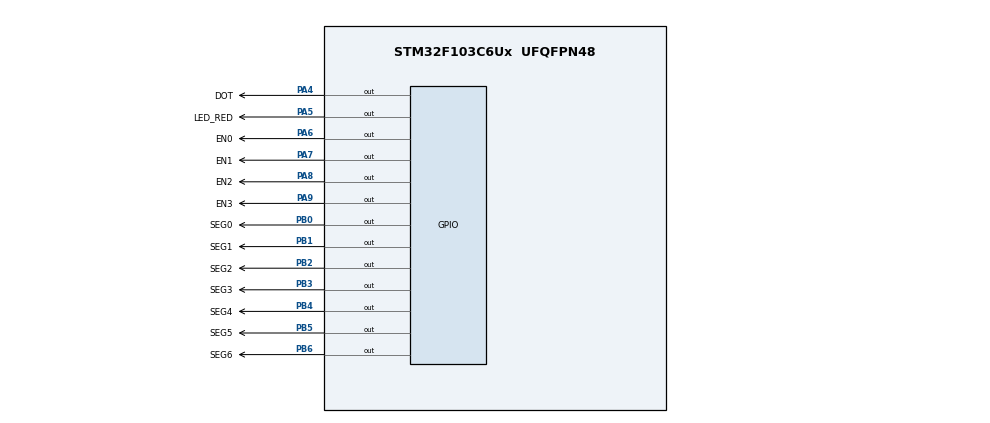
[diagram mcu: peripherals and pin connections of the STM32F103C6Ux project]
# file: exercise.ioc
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Mcu.Family=STM32F1
Mcu.Name=STM32F103C6Ux
Mcu.Package=UFQFPN48
NVIC.PriorityGroup=NVIC_PRIORITYGROUP_4
NVIC.TIM2_IRQn=true\:0\:0\:false\:false\:true\:true\:true
PA4.GPIO_Label=DOT
PA4.Signal=GPIO_Output
PA5.GPIO_Label=LED_RED
PA5.Signal=GPIO_Output
PA6.GPIO_Label=EN0
PA6.Signal=GPIO_Output
PA7.GPIO_Label=EN1
PA7.Signal=GPIO_Output
PA8.GPIO_Label=EN2
PA8.Signal=GPIO_Output
PA9.GPIO_Label=EN3
PA9.Signal=GPIO_Output
PB0.GPIO_Label=SEG0
PB0.Signal=GPIO_Output
PB1.GPIO_Label=SEG1
PB1.Signal=GPIO_Output
PB2.GPIO_Label=SEG2
PB2.Signal=GPIO_Output
PB3.GPIO_Label=SEG3
PB3.Signal=GPIO_Output
PB4.GPIO_Label=SEG4
PB4.Signal=GPIO_Output
PB5.GPIO_Label=SEG5
PB5.Signal=GPIO_Output
PB6.GPIO_Label=SEG6
PB6.Signal=GPIO_Output
ProjectManager.HeapSize=0x200
ProjectManager.StackSize=0x400
ProjectManager.TargetToolchain=STM32CubeIDE
RCC.APB1Freq_Value=8000000
RCC.APB2Freq_Value=8000000
TIM2.Period=9
TIM2.Prescaler=7999
VP_SYS_VS_ND.Mode=No_Debug
VP_TIM2_VS_ClockSourceINT.Mode=Internal
board=custom

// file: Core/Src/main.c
/* USER CODE BEGIN Header */
/**
  ******************************************************************************
  * @file           : main.c
  * @brief          : Main program body
  ******************************************************************************
  * @attention
  *
  * <h2><center>&copy; Copyright (c) 2023 STMicroelectronics.
  * All rights reserved.</center></h2>
  *
  * This software component is licensed by ST under BSD 3-Clause license,
  * the "License"; You may not use this file except in compliance with the
  * License. You may obtain a copy of the License at:
  *                        opensource.org/licenses/BSD-3-Clause
  *
  ******************************************************************************
  */
/* USER CODE END Header */
#include "main.h"
#include "software_timer.h"

TIM_HandleTypeDef htim2;

void SystemClock_Config(void);
static void MX_GPIO_Init(void);
static void MX_TIM2_Init(void);

/* USER CODE BEGIN 0 */
  int counter_switch = 25;
  int timerFA_counter = 100;
  int timerCouple_counter = 100;
  int FA_led_flag =0;
  int couple_led_flag =0;
  const int MAX_LED = 4;
  int index_led = 0;
  int led_buffer [4] = {1, 2, 3, 4};
  void update7SEG ( int index ){
	  switch ( index ){
	  	  case 0:
	  		  // Display the first 7 SEG with led_buffer [0]
				HAL_GPIO_WritePin(EN0_GPIO_Port, EN0_Pin, RESET);
				HAL_GPIO_WritePin(EN1_GPIO_Port, EN1_Pin, SET);
				HAL_GPIO_WritePin(EN2_GPIO_Port, EN2_Pin, SET);
				HAL_GPIO_WritePin(EN3_GPIO_Port, EN3_Pin, SET);

				HAL_GPIO_WritePin(SEG0_GPIO_Port, SEG0_Pin, SET);
				HAL_GPIO_WritePin(SEG1_GPIO_Port, SEG1_Pin, RESET);
				HAL_GPIO_WritePin(SEG2_GPIO_Port, SEG2_Pin, RESET);
				HAL_GPIO_WritePin(SEG3_GPIO_Port, SEG3_Pin, SET);
				HAL_GPIO_WritePin(SEG4_GPIO_Port, SEG4_Pin, SET);
				HAL_GPIO_WritePin(SEG5_GPIO_Port, SEG5_Pin, SET);
				HAL_GPIO_WritePin(SEG6_GPIO_Port, SEG6_Pin, SET);
	  		  break ;
	  	  case 1:
	  		  // Display the second 7 SEG with led_buffer [1]
				HAL_GPIO_WritePin(EN0_GPIO_Port, EN0_Pin, SET);
				HAL_GPIO_WritePin(EN1_GPIO_Port, EN1_Pin, RESET);
				HAL_GPIO_WritePin(EN2_GPIO_Port, EN2_Pin, SET);
				HAL_GPIO_WritePin(EN3_GPIO_Port, EN3_Pin, SET);

				HAL_GPIO_WritePin(SEG0_GPIO_Port, SEG0_Pin, RESET);
				HAL_GPIO_WritePin(SEG1_GPIO_Port, SEG1_Pin, RESET);
				HAL_GPIO_WritePin(SEG2_GPIO_Port, SEG2_Pin, SET);
				HAL_GPIO_WritePin(SEG3_GPIO_Port, SEG3_Pin, RESET);
				HAL_GPIO_WritePin(SEG4_GPIO_Port, SEG4_Pin, RESET);
				HAL_GPIO_WritePin(SEG5_GPIO_Port, SEG5_Pin, SET);
				HAL_GPIO_WritePin(SEG6_GPIO_Port, SEG6_Pin, RESET);
	  		  break ;
	  	  case 2:
	  		  // Display the third 7 SEG with led_buffer [2]
				HAL_GPIO_WritePin(EN0_GPIO_Port, EN0_Pin, SET);
				HAL_GPIO_WritePin(EN1_GPIO_Port, EN1_Pin, SET);
				HAL_GPIO_WritePin(EN2_GPIO_Port, EN2_Pin, RESET);
				HAL_GPIO_WritePin(EN3_GPIO_Port, EN3_Pin, SET);

				HAL_GPIO_WritePin(SEG0_GPIO_Port, SEG0_Pin, RESET);
				HAL_GPIO_WritePin(SEG1_GPIO_Port, SEG1_Pin, RESET);
				HAL_GPIO_WritePin(SEG2_GPIO_Port, SEG2_Pin, RESET);
				HAL_GPIO_WritePin(SEG3_GPIO_Port, SEG3_Pin, RESET);
				HAL_GPIO_WritePin(SEG4_GPIO_Port, SEG4_Pin, SET);
				HAL_GPIO_WritePin(SEG5_GPIO_Port, SEG5_Pin, SET);
				HAL_GPIO_WritePin(SEG6_GPIO_Port, SEG6_Pin, RESET);
	  		  break ;
	  	  case 3:
	  		  // Display the forth 7 SEG with led_buffer [3]
				HAL_GPIO_WritePin(EN0_GPIO_Port, EN0_Pin, SET);
				HAL_GPIO_WritePin(EN1_GPIO_Port, EN1_Pin, SET);
				HAL_GPIO_WritePin(EN2_GPIO_Port, EN2_Pin, SET);
				HAL_GPIO_WritePin(EN3_GPIO_Port, EN3_Pin, RESET);

				HAL_GPIO_WritePin(SEG0_GPIO_Port, SEG0_Pin, RESET);
				HAL_GPIO_WritePin(SEG1_GPIO_Port, SEG1_Pin, RESET);
				HAL_GPIO_WritePin(SEG2_GPIO_Port, SEG2_Pin, RESET);
				HAL_GPIO_WritePin(SEG3_GPIO_Port, SEG3_Pin, RESET);
				HAL_GPIO_WritePin(SEG4_GPIO_Port, SEG4_Pin, RESET);
				HAL_GPIO_WritePin(SEG5_GPIO_Port, SEG5_Pin, RESET);
				HAL_GPIO_WritePin(SEG6_GPIO_Port, SEG6_Pin, SET);
	  		  break ;
	  	  default :
	  		  break ;
	  }
  }

  void updateClockBuffer(){
	  if(hour != led_buffer[0]*10 + led_buffer[1]){
		  led_buffer[0] = hour/10;
		  led_buffer[1] = hour%10;
	  }

	  if(minute != led_buffer[2]*10 + led_buffer[3]){
		  led_buffer[2] = minute/10;
		  led_buffer[3] = minute%10;
	  }
  }
/* USER CODE END 0 */

int main(void)
{

  /* MCU Configuration--------------------------------------------------------*/

  /* Reset of all peripherals, Initializes the Flash interface and the Systick. */
  HAL_Init();

  /* Configure the system clock */
  SystemClock_Config();

  /* Initialize all configured peripherals */
  MX_GPIO_Init();
  MX_TIM2_Init();
  /* USER CODE BEGIN 2 */
  HAL_TIM_Base_Start_IT(&htim2);
  /* USER CODE END 2 */

  /* Infinite loop */
  /* USER CODE BEGIN WHILE */
  int hour = 15, minute = 8, second =50;
  while (1)
  {
    /* USER CODE END WHILE */
	  second++;
	  if ( second >= 60) {
	  second = 0;
	  minute ++;
	  }
	  if( minute >= 60) {
	  minute = 0;
	  hour ++;
	  }
	  if( hour >=24){
	  hour = 0;
	  }
	  updateClockBuffer ();
	  HAL_Delay (1000) ;
  }
}

void SystemClock_Config(void)
{
  RCC_OscInitTypeDef RCC_OscInitStruct = {0};
  RCC_ClkInitTypeDef RCC_ClkInitStruct = {0};

  /** Initializes the RCC Oscillators according to the specified parameters
  * in the RCC_OscInitTypeDef structure.
  */
  RCC_OscInitStruct.OscillatorType = RCC_OSCILLATORTYPE_HSI;
  RCC_OscInitStruct.HSIState = RCC_HSI_ON;
  RCC_OscInitStruct.HSICalibrationValue = RCC_HSICALIBRATION_DEFAULT;
  RCC_OscInitStruct.PLL.PLLState = RCC_PLL_NONE;
  if (HAL_RCC_OscConfig(&RCC_OscInitStruct) != HAL_OK)
  {
    Error_Handler();
  }
  /** Initializes the CPU, AHB and APB buses clocks
  */
  RCC_ClkInitStruct.ClockType = RCC_CLOCKTYPE_HCLK|RCC_CLOCKTYPE_SYSCLK
                              |RCC_CLOCKTYPE_PCLK1|RCC_CLOCKTYPE_PCLK2;
  RCC_ClkInitStruct.SYSCLKSource = RCC_SYSCLKSOURCE_HSI;
  RCC_ClkInitStruct.AHBCLKDivider = RCC_SYSCLK_DIV1;
  RCC_ClkInitStruct.APB1CLKDivider = RCC_HCLK_DIV1;
  RCC_ClkInitStruct.APB2CLKDivider = RCC_HCLK_DIV1;

  if (HAL_RCC_ClockConfig(&RCC_ClkInitStruct, FLASH_LATENCY_0) != HAL_OK)
  {
    Error_Handler();
  }
}

static void MX_TIM2_Init(void)
{

  TIM_ClockConfigTypeDef sClockSourceConfig = {0};
  TIM_MasterConfigTypeDef sMasterConfig = {0};

  htim2.Instance = TIM2;
  htim2.Init.Prescaler = 7999;
  htim2.Init.CounterMode = TIM_COUNTERMODE_UP;
  htim2.Init.Period = 9;
  htim2.Init.ClockDivision = TIM_CLOCKDIVISION_DIV1;
  htim2.Init.AutoReloadPreload = TIM_AUTORELOAD_PRELOAD_DISABLE;
  if (HAL_TIM_Base_Init(&htim2) != HAL_OK)
  {
    Error_Handler();
  }
  sClockSourceConfig.ClockSource = TIM_CLOCKSOURCE_INTERNAL;
  if (HAL_TIM_ConfigClockSource(&htim2, &sClockSourceConfig) != HAL_OK)
  {
    Error_Handler();
  }
  sMasterConfig.MasterOutputTrigger = TIM_TRGO_RESET;
  sMasterConfig.MasterSlaveMode = TIM_MASTERSLAVEMODE_DISABLE;
  if (HAL_TIMEx_MasterConfigSynchronization(&htim2, &sMasterConfig) != HAL_OK)
  {
    Error_Handler();
  }

}

static void MX_GPIO_Init(void)
{
  GPIO_InitTypeDef GPIO_InitStruct = {0};

  /* GPIO Ports Clock Enable */
  __HAL_RCC_GPIOA_CLK_ENABLE();
  __HAL_RCC_GPIOB_CLK_ENABLE();

  /*Configure GPIO pin Output Level */
  HAL_GPIO_WritePin(GPIOA, DOT_Pin|LED_RED_Pin|EN0_Pin|EN1_Pin
                          |EN2_Pin|EN3_Pin, GPIO_PIN_RESET);

  /*Configure GPIO pin Output Level */
  HAL_GPIO_WritePin(GPIOB, SEG0_Pin|SEG1_Pin|SEG2_Pin|SEG3_Pin
                          |SEG4_Pin|SEG5_Pin|SEG6_Pin, GPIO_PIN_RESET);

  /*Configure GPIO pins : DOT_Pin LED_RED_Pin EN0_Pin EN1_Pin
                           EN2_Pin EN3_Pin */
  GPIO_InitStruct.Pin = DOT_Pin|LED_RED_Pin|EN0_Pin|EN1_Pin
                          |EN2_Pin|EN3_Pin;
  GPIO_InitStruct.Mode = GPIO_MODE_OUTPUT_PP;
  GPIO_InitStruct.Pull = GPIO_NOPULL;
  GPIO_InitStruct.Speed = GPIO_SPEED_FREQ_LOW;
  HAL_GPIO_Init(GPIOA, &GPIO_InitStruct);

  /*Configure GPIO pins : SEG0_Pin SEG1_Pin SEG2_Pin SEG3_Pin
                           SEG4_Pin SEG5_Pin SEG6_Pin */
  GPIO_InitStruct.Pin = SEG0_Pin|SEG1_Pin|SEG2_Pin|SEG3_Pin
                          |SEG4_Pin|SEG5_Pin|SEG6_Pin;
  GPIO_InitStruct.Mode = GPIO_MODE_OUTPUT_PP;
  GPIO_InitStruct.Pull = GPIO_NOPULL;
  GPIO_InitStruct.Speed = GPIO_SPEED_FREQ_LOW;
  HAL_GPIO_Init(GPIOB, &GPIO_InitStruct);

}

/* USER CODE BEGIN 4 */

  void HAL_TIM_PeriodElapsedCallback(TIM_HandleTypeDef *htim)
  {
	    if(counter_switch >0){
	    	counter_switch--;
	    	if(counter_switch <= 0){
	    		update7SEG(index_led);
	    		index_led++;
	    		if(index_led >3)
	    			index_led =0;
	    		counter_switch = 25;
	    	}
	    }
	    //DOT
		if(timerFA_counter > 0){
			timerFA_counter--;
			if(timerFA_counter <= 0){
				FA_led_flag = 1;
			}
		}
		//double
		if(timerCouple_counter > 0){
			timerCouple_counter--;
			if(timerCouple_counter <= 0){
				couple_led_flag = 1;
			}
		}

		if(FA_led_flag == 1)
		{
			timerFA_counter = 100;
			FA_led_flag =0;
			HAL_GPIO_TogglePin(LED_RED_GPIO_Port, LED_RED_Pin);
		}

		if(couple_led_flag == 1)
		{
			timerCouple_counter = 100;
			couple_led_flag =0;
			HAL_GPIO_TogglePin(DOT_GPIO_Port, DOT_Pin);
		}
  }
/* USER CODE END 4 */

void Error_Handler(void)
{
  __disable_irq();
  while (1)
  {
  }
}

/************************ (C) COPYRIGHT STMicroelectronics *****END OF FILE****/
